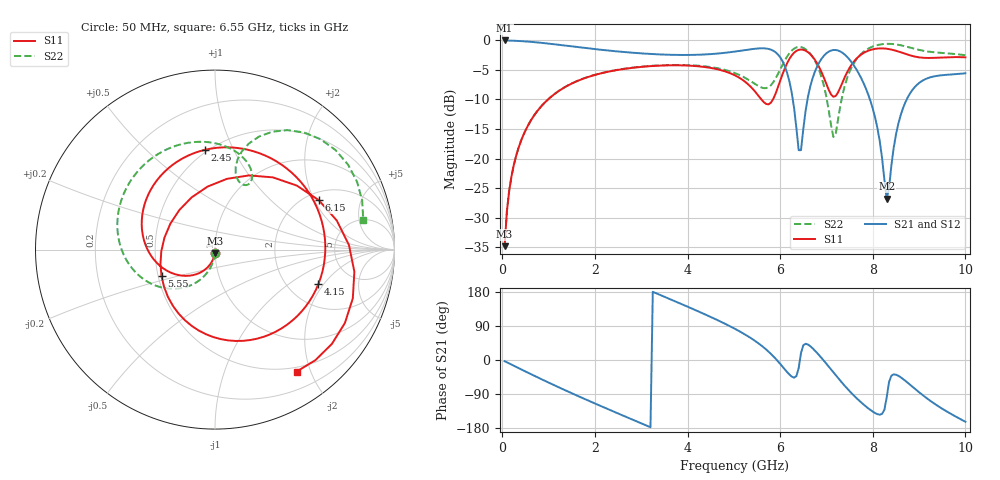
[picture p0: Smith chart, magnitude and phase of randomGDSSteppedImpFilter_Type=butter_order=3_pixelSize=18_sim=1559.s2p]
! freq	dB(S11)	phase(S11)	dB(S12)	phase(S12)
!  dB(S21)	phase(S21)	dB(S22)	phase(S22)
!S-par simulation data
#  GHz  S  DB  R 50
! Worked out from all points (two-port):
!   200 points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, 50 MHz to 10 GHz, reference 50 ohm
!   highest |S21| = -0.01 dB at 50 MHz (marker M1); lowest = -26.8 dB at 8.3 GHz (marker M2)
!   |S21| within 3 dB of the highest: start of sweep to 6.012 GHz; 6.903 GHz to 7.471 GHz (568.4 MHz wide, 7.91 % of centre)
!   lowest |S11| = -34.8 dB at 50 MHz (marker M3), VSWR 1.04, Z = 49.9 - j1.81 ohm
!   |S11| at or under -10 dB: start of sweep to 987.6 MHz; 5.595 GHz to 5.844 GHz (249.1 MHz wide, 4.36 % of centre)
!   |S22| runs from -34.8 to -0.6 dB; largest |S21 - S12| = 0
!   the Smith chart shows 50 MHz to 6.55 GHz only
!   S11 on the Smith chart (normalised r, x): 50 MHz: 1.00, -0.04; 2.45 GHz: 0.48, +0.78; 4.15 GHz: 2.93, -1.77; 5.55 GHz: 0.52, -0.17; 6.15 GHz: 2.32, +2.17; 6.55 GHz: 0.44, -1.79
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0.05  -34.83 -91.4  -0.01 -3.1  -0.01 -3.1  -34.81 -90.1
0.2  -22.94 -104.8  -0.05 -12.2  -0.05 -12.2  -22.92 -99.5
0.5  -15.26 -127.3  -0.18 -30.3  -0.18 -30.3  -15.24 -114.2
1.75  -6.48 143.8  -1.25 -101.4  -1.25 -101.4  -6.45 -167.8
2.45  -5.06 95.9  -1.84 -138.5  -1.84 -138.5  -5.02 166.0
3.4  -4.27 31.8  -2.38 172.2  -2.38 172.2  -4.22 131.9
4.15  -4.33 -18.3  -2.45 132.8  -2.45 132.8  -4.24 104.3
5.05  -6.02 -86.3  -1.86 80.5  -1.86 80.5  -5.62 70.7
5.55  -9.56 -153.6  -1.35 42.3  -1.35 42.3  -7.81 63.0
5.85  -9.93 114.0  -1.75 10.1  -1.75 10.1  -7.10 74.9
6.15  -3.87 25.5  -5.49 -31.7  -5.49 -31.7  -2.74 64.1
6.4  -1.61 -29.4  -18.58 -21.5  -18.58 -21.5  -1.12 32.6
6.55  -1.75 -56.2  -11.88 42.8  -11.88 42.8  -1.49 11.2
6.7  -2.76 -78.4  -6.42 31.0  -6.42 31.0  -2.78 -11.0
6.95  -6.42 -102.0  -2.55 -2.7  -2.55 -2.7  -7.85 -55.7
7.25  -8.81 -80.5  -1.72 -47.4  -1.72 -47.4  -13.42 147.4
7.8  -2.14 -116.6  -7.22 -117.3  -7.22 -117.3  -1.93 48.0
8.3  -1.42 177.3  -26.81 -99.3  -26.81 -99.3  -0.58 5.1
8.35  -1.47 169.5  -25.10 -58.7  -25.10 -58.7  -0.58 1.5
8.75  -2.40 98.6  -9.72 -59.6  -9.72 -59.6  -1.11 -23.1
9.2  -2.98 19.7  -6.36 -104.0  -6.36 -104.0  -1.90 -42.1
10  -2.87 -63.3  -5.58 -162.9  -5.58 -162.9  -2.52 -76.0
